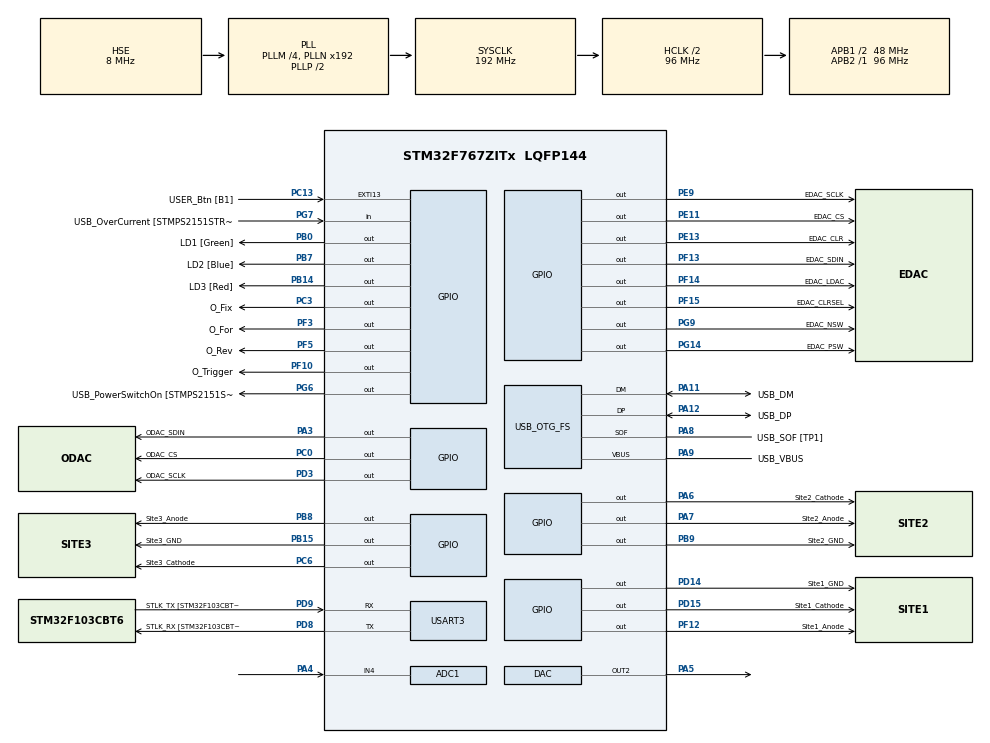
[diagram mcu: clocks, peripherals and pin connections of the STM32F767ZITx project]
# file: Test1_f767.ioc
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ADC1.Channel-0\#ChannelRegularConversion=ADC_CHANNEL_4
ADC1.ContinuousConvMode=ENABLE
ADC1.DMAContinuousRequests=ENABLE
ADC1.ExternalTrigConv=ADC_SOFTWARE_START
ADC1.NbrOfConversion=1
ADC1.NbrOfConversionFlag=1
ADC1.Rank-0\#ChannelRegularConversion=1
ADC1.SamplingTime-0\#ChannelRegularConversion=ADC_SAMPLETIME_15CYCLES
ADC1.master=1
Dma.ADC1.0.Direction=DMA_PERIPH_TO_MEMORY
Dma.ADC1.0.FIFOMode=DMA_FIFOMODE_DISABLE
Dma.ADC1.0.Instance=DMA2_Stream0
Dma.ADC1.0.MemDataAlignment=DMA_MDATAALIGN_HALFWORD
Dma.ADC1.0.MemInc=DMA_MINC_ENABLE
Dma.ADC1.0.Mode=DMA_CIRCULAR
Dma.ADC1.0.PeriphDataAlignment=DMA_PDATAALIGN_HALFWORD
Dma.ADC1.0.PeriphInc=DMA_PINC_DISABLE
Dma.ADC1.0.Priority=DMA_PRIORITY_LOW
Dma.Request0=ADC1
Mcu.Family=STM32F7
Mcu.Name=STM32F767ZITx
Mcu.Package=LQFP144
NVIC.DMA2_Stream0_IRQn=true\:0\:0\:false\:false\:true\:false\:true\:true
NVIC.PriorityGroup=NVIC_PRIORITYGROUP_4
NVIC.TIM1_BRK_TIM9_IRQn=true\:0\:0\:false\:false\:true\:true\:true\:true
NVIC.TIM1_TRG_COM_TIM11_IRQn=true\:0\:0\:false\:false\:true\:true\:true\:true
NVIC.TIM1_UP_TIM10_IRQn=true\:0\:0\:false\:false\:true\:true\:true\:true
NVIC.TIM2_IRQn=true\:0\:0\:false\:false\:true\:true\:true\:true
NVIC.TIM6_DAC_IRQn=true\:0\:0\:false\:false\:true\:true\:true\:true
NVIC.TIM7_IRQn=true\:0\:0\:false\:false\:true\:true\:true\:true
NVIC.TIM8_BRK_TIM12_IRQn=true\:0\:0\:false\:false\:true\:true\:true\:true
NVIC.TIM8_TRG_COM_TIM14_IRQn=true\:0\:0\:false\:false\:true\:true\:true\:true
NVIC.TIM8_UP_TIM13_IRQn=true\:0\:0\:false\:false\:true\:true\:true\:true
NVIC.USART3_IRQn=true\:0\:0\:false\:false\:true\:true\:true\:true
PA1.GPIO_Label=RMII_REF_CLK [LAN8742A-CZ-TR_REFCLK0]
PA1.Signal=ETH_REF_CLK
PA10.GPIO_Label=USB_ID
PA10.Signal=USB_OTG_FS_ID
PA11.GPIO_Label=USB_DM
PA11.Mode=Device_Only
PA11.Signal=USB_OTG_FS_DM
PA12.GPIO_Label=USB_DP
PA12.Mode=Device_Only
PA12.Signal=USB_OTG_FS_DP
PA13.GPIO_Label=TMS
PA13.Mode=Serial_Wire
PA13.Signal=SYS_JTMS-SWDIO
PA14.GPIO_Label=TCK
PA14.Mode=Serial_Wire
PA14.Signal=SYS_JTCK-SWCLK
PA2.GPIO_Label=RMII_MDIO [LAN8742A-CZ-TR_MDIO]
PA2.Signal=ETH_MDIO
PA3.GPIO_Label=ODAC_SDIN
PA3.GPIO_PuPd=GPIO_PULLUP
PA3.GPIO_Speed=GPIO_SPEED_FREQ_HIGH
PA3.PinState=GPIO_PIN_SET
PA3.Signal=GPIO_Output
PA4.Signal=ADCx_IN4
PA5.Signal=COMP_DAC2_group
PA6.GPIO_Label=Site2_Cathode
PA6.GPIO_ModeDefaultOutputPP=GPIO_MODE_OUTPUT_PP
PA6.GPIO_PuPd=GPIO_NOPULL
PA6.GPIO_Speed=GPIO_SPEED_FREQ_HIGH
PA6.PinState=GPIO_PIN_RESET
PA6.Signal=GPIO_Output
PA7.GPIO_Label=Site2_Anode
PA7.GPIO_ModeDefaultOutputPP=GPIO_MODE_OUTPUT_PP
PA7.GPIO_PuPd=GPIO_NOPULL
PA7.GPIO_Speed=GPIO_SPEED_FREQ_HIGH
PA7.PinState=GPIO_PIN_RESET
PA7.Signal=GPIO_Output
PA8.GPIO_Label=USB_SOF [TP1]
PA8.Mode=Activate_SOF_FS
PA8.Signal=USB_OTG_FS_SOF
PA9.GPIO_Label=USB_VBUS
PA9.Mode=Activate_VBUS
PA9.Signal=USB_OTG_FS_VBUS
PB0.GPIO_Label=LD1 [Green]
PB0.GPIO_Speed=GPIO_SPEED_FREQ_LOW
PB0.Signal=GPIO_Output
PB13.GPIO_Label=RMII_TXD1 [LAN8742A-CZ-TR_TXD1]
PB13.Signal=ETH_TXD1
PB14.GPIO_Label=LD3 [Red]
PB14.GPIO_Speed=GPIO_SPEED_FREQ_LOW
PB14.Signal=GPIO_Output
PB15.GPIO_Label=Site3_GND
PB15.GPIO_ModeDefaultOutputPP=GPIO_MODE_OUTPUT_PP
PB15.GPIO_PuPd=GPIO_NOPULL
PB15.GPIO_Speed=GPIO_SPEED_FREQ_HIGH
PB15.PinState=GPIO_PIN_RESET
PB15.Signal=GPIO_Output
PB3.GPIO_Label=SWO
PB3.Signal=SYS_JTDO-SWO
PB7.GPIO_Label=LD2 [Blue]
PB7.GPIO_Speed=GPIO_SPEED_FREQ_LOW
PB7.Signal=GPIO_Output
PB8.GPIO_FM8=SYSCFG_PMC_I2C_PB8_FMP
PB8.GPIO_Label=Site3_Anode
PB8.GPIO_ModeDefaultOutputPP=GPIO_MODE_OUTPUT_PP
PB8.GPIO_PuPd=GPIO_NOPULL
PB8.GPIO_Speed=GPIO_SPEED_FREQ_HIGH
PB8.PinState=GPIO_PIN_RESET
PB8.Signal=GPIO_Output
PB9.GPIO_FM9=SYSCFG_PMC_I2C_PB9_FMP
PB9.GPIO_Label=Site2_GND
PB9.GPIO_ModeDefaultOutputPP=GPIO_MODE_OUTPUT_PP
PB9.GPIO_PuPd=GPIO_NOPULL
PB9.GPIO_Speed=GPIO_SPEED_FREQ_HIGH
PB9.PinState=GPIO_PIN_RESET
PB9.Signal=GPIO_Output
PC0.GPIO_Label=ODAC_CS
PC0.GPIO_PuPd=GPIO_PULLUP
PC0.GPIO_Speed=GPIO_SPEED_FREQ_HIGH
PC0.PinState=GPIO_PIN_SET
PC0.Signal=GPIO_Output
PC1.GPIO_Label=RMII_MDC [LAN8742A-CZ-TR_MDC]
PC1.Signal=ETH_MDC
PC13.GPIO_Label=USER_Btn [B1]
PC13.Signal=GPXTI13
PC14/OSC32_IN.Mode=LSE-External-Oscillator
PC14/OSC32_IN.Signal=RCC_OSC32_IN
PC15/OSC32_OUT.Mode=LSE-External-Oscillator
PC15/OSC32_OUT.Signal=RCC_OSC32_OUT
PC3.GPIO_Label=O_Fix
PC3.GPIO_PuPd=GPIO_PULLDOWN
PC3.PinState=GPIO_PIN_SET
PC3.Signal=GPIO_Output
PC4.GPIO_Label=RMII_RXD0 [LAN8742A-CZ-TR_RXD0]
PC4.Signal=ETH_RXD0
PC5.GPIO_Label=RMII_RXD1 [LAN8742A-CZ-TR_RXD1]
PC5.Signal=ETH_RXD1
PC6.GPIO_Label=Site3_Cathode
PC6.GPIO_ModeDefaultOutputPP=GPIO_MODE_OUTPUT_PP
PC6.GPIO_PuPd=GPIO_NOPULL
PC6.GPIO_Speed=GPIO_SPEED_FREQ_HIGH
PC6.PinState=GPIO_PIN_RESET
PC6.Signal=GPIO_Output
PD14.GPIO_Label=Site1_GND
PD14.GPIO_ModeDefaultOutputPP=GPIO_MODE_OUTPUT_PP
PD14.GPIO_PuPd=GPIO_NOPULL
PD14.GPIO_Speed=GPIO_SPEED_FREQ_HIGH
PD14.PinState=GPIO_PIN_RESET
PD14.Signal=GPIO_Output
PD15.GPIO_Label=Site1_Cathode
PD15.GPIO_ModeDefaultOutputPP=GPIO_MODE_OUTPUT_PP
PD15.GPIO_PuPd=GPIO_NOPULL
PD15.GPIO_Speed=GPIO_SPEED_FREQ_HIGH
PD15.PinState=GPIO_PIN_RESET
PD15.Signal=GPIO_Output
PD3.GPIO_Label=ODAC_SCLK
PD3.GPIO_PuPd=GPIO_PULLUP
PD3.GPIO_Speed=GPIO_SPEED_FREQ_HIGH
PD3.PinState=GPIO_PIN_SET
PD3.Signal=GPIO_Output
PD8.GPIO_Label=STLK_RX [STM32F103CBT6_PA3]
PD8.Mode=Asynchronous
PD8.Signal=USART3_TX
PD9.GPIO_Label=STLK_TX [STM32F103CBT6_PA2]
PD9.Mode=Asynchronous
PD9.Signal=USART3_RX
PE11.GPIO_Label=EDAC_CS
PE11.GPIO_PuPd=GPIO_PULLUP
PE11.GPIO_Speed=GPIO_SPEED_FREQ_HIGH
PE11.PinState=GPIO_PIN_SET
PE11.Signal=GPIO_Output
PE13.GPIO_Label=EDAC_CLR
PE13.GPIO_Speed=GPIO_SPEED_FREQ_HIGH
PE13.PinState=GPIO_PIN_SET
PE13.Signal=GPIO_Output
PE9.GPIO_Label=EDAC_SCLK
PE9.GPIO_PuPd=GPIO_PULLUP
PE9.GPIO_Speed=GPIO_SPEED_FREQ_HIGH
PE9.PinState=GPIO_PIN_SET
PE9.Signal=GPIO_Output
PF10.GPIO_Label=O_Trigger
PF10.GPIO_PuPd=GPIO_PULLDOWN
PF10.Signal=GPIO_Output
PF12.GPIO_Label=Site1_Anode
PF12.GPIO_ModeDefaultOutputPP=GPIO_MODE_OUTPUT_PP
PF12.GPIO_PuPd=GPIO_NOPULL
PF12.GPIO_Speed=GPIO_SPEED_FREQ_HIGH
PF12.PinState=GPIO_PIN_RESET
PF12.Signal=GPIO_Output
PF13.GPIO_Label=EDAC_SDIN
PF13.GPIO_PuPd=GPIO_PULLUP
PF13.GPIO_Speed=GPIO_SPEED_FREQ_HIGH
PF13.PinState=GPIO_PIN_SET
PF13.Signal=GPIO_Output
PF14.GPIO_Label=EDAC_LDAC
PF14.GPIO_PuPd=GPIO_PULLUP
PF14.GPIO_Speed=GPIO_SPEED_FREQ_HIGH
PF14.PinState=GPIO_PIN_SET
PF14.Signal=GPIO_Output
PF15.GPIO_Label=EDAC_CLRSEL
PF15.GPIO_Speed=GPIO_SPEED_FREQ_LOW
PF15.PinState=GPIO_PIN_SET
PF15.Signal=GPIO_Output
PF3.GPIO_Label=O_For
PF3.GPIO_PuPd=GPIO_PULLUP
PF3.PinState=GPIO_PIN_SET
PF3.Signal=GPIO_Output
PF5.GPIO_Label=O_Rev
PF5.GPIO_PuPd=GPIO_PULLUP
PF5.PinState=GPIO_PIN_SET
PF5.Signal=GPIO_Output
PG11.GPIO_Label=RMII_TX_EN [LAN8742A-CZ-TR_TXEN]
PG11.Signal=ETH_TX_EN
PG13.GPIO_Label=RMII_TXD0 [LAN8742A-CZ-TR_TXD0]
PG13.Signal=ETH_TXD0
PG14.GPIO_Label=EDAC_PSW
PG14.GPIO_Speed=GPIO_SPEED_FREQ_HIGH
PG14.Signal=GPIO_Output
PG6.GPIO_Label=USB_PowerSwitchOn [STMPS2151STR_EN]
PG6.Signal=GPIO_Output
PG7.GPIO_Label=USB_OverCurrent [STMPS2151STR_FAULT]
PG7.Signal=GPIO_Input
PG9.GPIO_Label=EDAC_NSW
PG9.GPIO_Speed=GPIO_SPEED_FREQ_HIGH
PG9.Signal=GPIO_Output
PH0/OSC_IN.GPIO_Label=MCO [STM32F103CBT6_PA8]
PH0/OSC_IN.Mode=HSE-External-Oscillator
PH0/OSC_IN.Signal=RCC_OSC_IN
PH1/OSC_OUT.Mode=HSE-External-Oscillator
PH1/OSC_OUT.Signal=RCC_OSC_OUT
ProjectManager.HeapSize=0x200
ProjectManager.StackSize=0x400
ProjectManager.TargetToolchain=STM32CubeIDE
RCC.48MHZClocksFreq_Value=24000000
RCC.AHBCLKDivider=RCC_SYSCLK_DIV2
RCC.AHBFreq_Value=96000000
RCC.APB1CLKDivider=RCC_HCLK_DIV2
RCC.APB1Freq_Value=48000000
RCC.APB1TimFreq_Value=96000000
RCC.APB2Freq_Value=96000000
RCC.APB2TimFreq_Value=96000000
RCC.CortexFreq_Value=96000000
RCC.HCLKFreq_Value=96000000
RCC.HSE_VALUE=8000000
RCC.HSI_VALUE=16000000
RCC.PLLM=4
RCC.PLLMUL=RCC_PLL_MUL9
RCC.PLLQ=8
RCC.PLLSAIP=RCC_PLLSAIP_DIV4
RCC.PRESCALERUSB=RCC_USBCLKSOURCE_PLL_DIV1_5
RCC.SYSCLKFreq_VALUE=192000000
RCC.SYSCLKSource=RCC_SYSCLKSOURCE_PLLCLK
RCC.SYSCLKSourceVirtual=RCC_SYSCLKSOURCE_PLLCLK
RCC.USBFreq_Value=48000000
RCC.VCOOutputFreq_Value=384000000
SH.ADCx_IN4.0=ADC1_IN4,IN4
SH.COMP_DAC2_group.0=DAC_OUT2,DAC_OUT2
TIM10.AutoReloadPreload=TIM_AUTORELOAD_PRELOAD_DISABLE
TIM10.Period=100-1
TIM10.Prescaler=96-1
TIM11.Period=1000-1
TIM11.Prescaler=96-1
TIM12.ClockDivision=TIM_CLOCKDIVISION_DIV2
TIM12.Period=2-1
TIM12.Prescaler=24000-1
TIM13.ClockDivision=TIM_CLOCKDIVISION_DIV2
TIM13.Period=20-1
TIM13.Prescaler=24000-1
TIM14.ClockDivision=TIM_CLOCKDIVISION_DIV2
TIM14.Period=1000-1
TIM14.Prescaler=24000-1
TIM2.Period=1000-1
TIM2.Prescaler=96-1
TIM7.Period=1000-1
TIM7.Prescaler=96-1
TIM9.AutoReloadPreload=TIM_AUTORELOAD_PRELOAD_DISABLE
TIM9.Period=480-1
TIM9.Prescaler=24-1
USART3.VirtualMode-Asynchronous=VM_ASYNC
USB_OTG_FS.VirtualMode=Device_Only
VP_TIM10_VS_ClockSourceINT.Mode=Enable_Timer
VP_TIM11_VS_ClockSourceINT.Mode=Enable_Timer
VP_TIM12_VS_ClockSourceINT.Mode=Internal
VP_TIM13_VS_ClockSourceINT.Mode=Enable_Timer
VP_TIM14_VS_ClockSourceINT.Mode=Enable_Timer
VP_TIM2_VS_ClockSourceINT.Mode=Internal
VP_TIM7_VS_ClockSourceINT.Mode=Enable_Timer
VP_TIM9_VS_ClockSourceINT.Mode=Internal
board=NUCLEO-F767ZI

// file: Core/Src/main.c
/* USER CODE BEGIN Header */
/**
 ******************************************************************************
 * @file           : main.c
 * @brief          : Main program body
 ******************************************************************************
 * @attention
 *
 * Copyright (c) 2024 STMicroelectronics.
 * All rights reserved.
 *
 * This software is licensed under terms that can be found in the LICENSE file
 * in the root directory of this software component.
 * If no LICENSE file comes with this software, it is provided AS-IS.
 *
 ******************************************************************************
 */
/* USER CODE END Header */
#include "main.h"
#include "adc.h"
#include "dac.h"
#include "dma.h"
#include "tim.h"
#include "usart.h"
#include "gpio.h"

/* USER CODE BEGIN Includes */
#include <string.h>
#include <stdlib.h>
#include "stm32f7xx_it.h"
#include "elec.h"
#include "opto.h"
#include "myspi.h"
/* USER CODE END Includes */

/* USER CODE BEGIN PM */
// UART_HandleTypeDef huart3;
/* USER CODE END PM */

/* USER CODE BEGIN PV */
char msg[] = "Hello, UART!\n";
const uint8_t startconfirm[] = "started\n";

uint8_t program_stage = 0;
volatile uint8_t startprogram = 0;
volatile uint8_t ParReceive_enable = 1;

extern ADC_HandleTypeDef hadc1;
extern uint8_t ADC_sample_complete;
extern uint16_t adc_buf[ADC_BUF_LEN];

extern Site_t Site_group[3];
extern MYSPI_IO_t EVO;
// extern uint8_t VO_Group[4];
char E_DATARx[ECHO_BUFFER_LENGTH], E_PTime1_s[ECHO_BUFFER_LENGTH], E_PTime2_s[ECHO_BUFFER_LENGTH], E_Cur1_s[ECHO_BUFFER_LENGTH], E_Cur2_s[ECHO_BUFFER_LENGTH],
    E_PulsePeriod_s[ECHO_BUFFER_LENGTH], E_Repeat_s[ECHO_BUFFER_LENGTH], E_Delay_s[ECHO_BUFFER_LENGTH],
    O_DATARx[ECHO_BUFFER_LENGTH], O_PTime1_s[ECHO_BUFFER_LENGTH], O_PTime2_s[ECHO_BUFFER_LENGTH], O_Cur1_s[ECHO_BUFFER_LENGTH], O_Cur2_s[ECHO_BUFFER_LENGTH],
    O_PulsePeriod_s[ECHO_BUFFER_LENGTH], O_Repeat_s[ECHO_BUFFER_LENGTH], O_Delay_s[ECHO_BUFFER_LENGTH],
    Src_Site_s[ECHO_BUFFER_LENGTH], CathodType_s[ECHO_BUFFER_LENGTH], DstSite_s[ECHO_BUFFER_LENGTH], Mode_s[ECHO_BUFFER_LENGTH], StimPeriod_s[ECHO_BUFFER_LENGTH] = "";
volatile uint16_t E_PTime1, E_PTime2, E_CurA, E_CurB, E_CurC, E_CurD,
    E_PulsePeriod, E_Repeat, E_Delay,
    O_PTime1, O_PTime2, O_Cur1, O_Cur2,
    O_PulsePeriod, O_Repeat, O_Delay,
    Src_Site, CathodType, DstSite, Mode, StimPeriod = 0;

volatile uint8_t E_Stimulating = 0;
volatile uint8_t E_Sti_Count = 0;
volatile uint8_t E_SPeriod_flag = 0;
volatile uint8_t LPeriod_flag = 0;

volatile uint8_t O_Stimulating = 0;
volatile uint8_t O_Sti_Count = 0;
volatile uint8_t O_SPeriod_flag = 0;

volatile uint8_t Esticompleted = 0;
volatile uint8_t Ostimcompleted = 0;
volatile uint8_t O_stimallowed = 0;
volatile uint8_t E_stimallowed = 0;

uint8_t LED_first_flag = 1;
extern volatile uint8_t Opto_PhaseFlag;
/* USER CODE END PV */

void SystemClock_Config(void);

/* USER CODE BEGIN 0 */

/**
 * @brief This function handles TIM2 global interrupt.
 */
void TIM_Delay_IRQHandler(void)
{
  if (__HAL_TIM_GET_FLAG(&hTIM_Delay, TIM_FLAG_UPDATE) != RESET)
  {
    if (__HAL_TIM_GET_IT_SOURCE(&hTIM_Delay, TIM_IT_UPDATE) != RESET)
    {
    	HAL_TIM_Base_Stop_IT(&hTIM_Delay);
      __HAL_TIM_SET_COUNTER(&hTIM_Delay, 0);
      __HAL_TIM_CLEAR_FLAG(&hTIM_Delay, TIM_IT_UPDATE);
      if (LED_first_flag)
      {
        E_stimallowed = 1;
        __HAL_TIM_SET_AUTORELOAD(&hTIM_STP_Elec, E_PulsePeriod);
        __HAL_TIM_SET_COUNTER(&hTIM_STP_Elec, 0);
        HAL_TIM_Base_Start_IT(&hTIM_STP_Elec);
      }
      else
      {
        O_stimallowed = 1;
        __HAL_TIM_SET_AUTORELOAD(&hTIM_STP_Opto, O_PulsePeriod);
        __HAL_TIM_SET_COUNTER(&hTIM_STP_Opto, 0);
        HAL_TIM_Base_Start_IT(&hTIM_STP_Opto);
      }
    }
  }
}

/**
 * @brief This function handles TIM1 trigger and commutation interrupts and TIM11 global interrupt.
 */
void TIM_LTP_IRQHandler(void)
{
  /* USER CODE BEGIN TIM1_TRG_COM_TIM11_IRQn 0 */
  if (__HAL_TIM_GET_FLAG(&hTIM_LTP, TIM_FLAG_UPDATE) != RESET)
  {
    if (__HAL_TIM_GET_IT_SOURCE(&hTIM_LTP, TIM_IT_UPDATE) != RESET)
    {
      __HAL_TIM_SET_COUNTER(&hTIM_LTP, 0);
      __HAL_TIM_CLEAR_FLAG(&hTIM_LTP, TIM_IT_UPDATE);
      LPeriod_flag = 1;
    }
  }
}
/* USER CODE END 0 */

int main(void)
{

  /* MCU Configuration--------------------------------------------------------*/

  /* Reset of all peripherals, Initializes the Flash interface and the Systick. */
  HAL_Init();

  /* Configure the system clock */
  SystemClock_Config();

  /* Initialize all configured peripherals */
  MX_GPIO_Init();
  MX_DMA_Init();
  MX_ADC1_Init();
  MX_USART3_UART_Init();
  MX_DAC_Init();
  MX_TIM9_Init();
  MX_TIM10_Init();
  MX_TIM7_Init();
  MX_TIM11_Init();
  MX_TIM12_Init();
  MX_TIM13_Init();
  MX_TIM14_Init();
  MX_TIM2_Init();
  /* USER CODE BEGIN 2 */
  // HAL_ADC_Start(&hadc1);
  HAL_ADC_Start_DMA(&hadc1, (uint32_t *)adc_buf, ADC_BUF_LEN);

  HAL_GPIO_WritePin(EDAC_CLRSEL_GPIO_Port, EDAC_CLRSEL_Pin, GPIO_PIN_SET); // Set EDAC to middle voltage
  HAL_GPIO_WritePin(EDAC_CLR_GPIO_Port, EDAC_CLR_Pin, GPIO_PIN_RESET);     // Set EDAC to middle voltage
  /* USER CODE END 2 */

  /* Infinite loop */
  while (1)
  {

    /* USER CODE BEGIN 3 */
    if (program_stage == 1)
    {
      startprogram = 1;
      ParReceive_enable = 1;
      HAL_TIM_Base_Start_IT(&hADC_Trigger); // ADC timer

      HAL_UART_Transmit(&huart3, (uint8_t *)&startconfirm, sizeof(startconfirm), HAL_MAX_DELAY);
    }

    while (startprogram)
    {
      switch (program_stage)
      {
      case 2:
        program_stage = 0;
        startprogram = 0;
        Opto_PhaseFlag = 1;
        O_Stimulating = 0;
        E_Stimulating = 0;

        HAL_TIM_Base_Stop_IT(&hADC_Trigger); // ADC timer

        HAL_TIM_Base_Stop_IT(&hTIM_STP_Opto);
        HAL_TIM_Base_Stop_IT(&hTIM_Pulse_Opto);

        HAL_TIM_Base_Stop_IT(&hTIM_STP_Elec);
        HAL_TIM_Base_Stop_IT(&hTIM_Pulse_Elec);

        HAL_TIM_Base_Stop_IT(&hTIM_Delay);
        HAL_TIM_Base_Stop_IT(&hTIM_LTP);

        HAL_GPIO_WritePin(EDAC_CLR_GPIO_Port, EDAC_CLR_Pin, GPIO_PIN_RESET); // Set EDAC to middle voltage
        break;
      case 3:
        if (ParReceive_enable)
        {
          ParReceive_enable = 0;
          while (!getCmd(O_DATARx))
            ;
          parseCmd_O(O_DATARx, O_PTime1_s, O_PTime2_s, O_Cur1_s, O_Cur2_s, Mode_s, O_PulsePeriod_s, O_Repeat_s, StimPeriod_s, O_Delay_s);
          O_PTime1 = atoi(O_PTime1_s) / 250 - 1;
          O_PTime2 = atoi(O_PTime2_s) / 250 - 1;
          O_Cur1 = 0x100 + atoi(O_Cur1_s);
          O_Cur2 = 0x100 + atoi(O_Cur2_s);
          Mode = atoi(Mode_s);
          O_PulsePeriod = atoi(O_PulsePeriod_s) / 250 - 1;

          O_Repeat = atoi(O_Repeat_s);
          StimPeriod = atoi(StimPeriod_s) - 1;

          if (Mode)
          {
            __HAL_TIM_SET_AUTORELOAD(&hTIM_LTP, StimPeriod);
            __HAL_TIM_SET_COUNTER(&hTIM_LTP, 0);
            HAL_TIM_Base_Start_IT(&hTIM_LTP);
          }

          __HAL_TIM_SET_AUTORELOAD(&hTIM_STP_Opto, O_PulsePeriod);
          __HAL_TIM_SET_COUNTER(&hTIM_STP_Opto, 0);
          HAL_TIM_Base_Start_IT(&hTIM_STP_Opto);
        }
        if (Mode)
        {
          if (!LPeriod_flag)
          {
            if (!O_SPeriod_flag)
            {
              if (O_Sti_Count < O_Repeat)
              {
                if (!O_Stimulating)
                {
                  O_Stimulating = 1;
                  if (!optostimulation())
                  {
                    O_Sti_Count++;
                    O_SPeriod_flag = 1;
                  }
                }
              }
              else
              {
                __HAL_TIM_DISABLE(&hTIM_STP_Opto);
              }
            }
          }
          else
          {
            LPeriod_flag = 0;
            O_SPeriod_flag = 0;
            O_Sti_Count = 0;
            __HAL_TIM_ENABLE(&hTIM_STP_Opto);
          }
        }
        else
        {
          if (!O_SPeriod_flag)
          {
            if (O_Sti_Count < O_Repeat)
            {
              if (!O_Stimulating)
              {
                O_Stimulating = 1;
                if (!optostimulation())
                {
                  O_Sti_Count++;
                  O_SPeriod_flag = 1;
                }
              }
            }
            else
            {
              program_stage = 1;
              ParReceive_enable = 1;
              O_SPeriod_flag = 0;
              O_Sti_Count = 0;
              HAL_TIM_Base_Stop_IT(&hTIM_STP_Opto);
            }
          }
        }
        break;
      case 4:
        if (ParReceive_enable)
        {
          ParReceive_enable = 0;
          while (!getCmd(E_DATARx))
            ;
          parseCmd_E(E_DATARx, E_PTime1_s, E_PTime2_s, E_Cur1_s, E_Cur2_s, Src_Site_s, CathodType_s, DstSite_s,
                     Mode_s, E_PulsePeriod_s, E_Repeat_s, StimPeriod_s, E_Delay_s);

          E_PTime1 = (uint16_t)atoi(E_PTime1_s) * 4 - 1 - 3;
          E_PTime2 = (uint16_t)atoi(E_PTime2_s) * 4 +1;
          E_CurD = (0b11 << 14) + (uint16_t)atoi(E_Cur1_s);        // Negtive High Current
          E_CurC = (0b10 << 14) + (uint16_t)atoi(E_Cur2_s);        // Negtive Low Current
          E_CurB = (0b01 << 14) + 4095 - (uint16_t)atoi(E_Cur1_s); // Positive High Current
          E_CurA = (0b00 << 14) + 4095 - (uint16_t)atoi(E_Cur2_s); // Positive Low Current
          Src_Site = (uint16_t)atoi(Src_Site_s);
          CathodType = (uint16_t)atoi(CathodType_s);
          DstSite = (uint16_t)atoi(DstSite_s);
          Mode = (uint16_t)atoi(Mode_s);
          E_PulsePeriod = (uint16_t)atoi(E_PulsePeriod_s) - 1;

          E_Repeat = (uint16_t)atoi(E_Repeat_s);
          StimPeriod = (uint16_t)atoi(StimPeriod_s) - 1;

          HAL_GPIO_WritePin(EDAC_CLR_GPIO_Port, EDAC_CLR_Pin, GPIO_PIN_SET);

          MySPI_SendByte2AD5726(EVO, E_CurA); // VO+ when switch PG14 to 1
          MySPI_SendByte2AD5726(EVO, E_CurB); // VO+ when switch PG14 to 0 (default)
          MySPI_SendByte2AD5726(EVO, E_CurC); // VO- when switch PG9 to 1
          MySPI_SendByte2AD5726(EVO, E_CurD); // VO- when switch PG9 to 0 (default)
          if (Mode)
          {
            __HAL_TIM_SET_AUTORELOAD(&hTIM_LTP, StimPeriod);
            __HAL_TIM_SET_COUNTER(&hTIM_LTP, 0);
            HAL_TIM_Base_Start_IT(&hTIM_LTP);
          }

          __HAL_TIM_SET_AUTORELOAD(&hTIM_STP_Elec, E_PulsePeriod);
          __HAL_TIM_SET_COUNTER(&hTIM_STP_Elec, 0);
          HAL_TIM_Base_Start_IT(&hTIM_STP_Elec);
        }
        if (Mode)
        {
          if (!LPeriod_flag)
          {
            if (!E_SPeriod_flag)
            {
              if (E_Sti_Count < E_Repeat)
              {
                if (!E_Stimulating)
                {
                  E_Stimulating = 1;
                  if (!elecstimulation(Site_group[Src_Site], Site_group[DstSite], CathodType))
                  {
                    E_Sti_Count++;
                    E_SPeriod_flag = 1;
                  }
                }
              }
              else
              {
                __HAL_TIM_DISABLE(&hTIM_STP_Elec);
              }
            }
          }
          else
          {
            LPeriod_flag = 0;
            E_SPeriod_flag = 0;
            E_Sti_Count = 0;
            __HAL_TIM_ENABLE(&hTIM_STP_Elec);
          }
        }
        else
        {
          if (!E_SPeriod_flag)
          {
            if (E_Sti_Count < E_Repeat)
            {
              if (!E_Stimulating)
              {
                E_Stimulating = 1;
                if (!elecstimulation(Site_group[Src_Site], Site_group[DstSite], CathodType))
                {
                  E_Sti_Count++;
                  E_SPeriod_flag = 1;
                }
              }
            }
            else
            {
              program_stage = 1;
              ParReceive_enable = 1;
              E_SPeriod_flag = 0;
              E_Sti_Count = 0;
              HAL_TIM_Base_Stop_IT(&hTIM_STP_Elec);
            }
          }
        }
        break;
      case 5:
        if (ParReceive_enable)
        {
          ParReceive_enable = 0;
          while (!getCmd(O_DATARx))
            ;
          while (!getCmd(E_DATARx))
            ;
          parseCmd_O(O_DATARx, O_PTime1_s, O_PTime2_s, O_Cur1_s, O_Cur2_s, Mode_s, O_PulsePeriod_s, O_Repeat_s, StimPeriod_s, O_Delay_s);
          O_PTime1 = atoi(O_PTime1_s) / 250 - 1;
          O_PTime2 = atoi(O_PTime2_s) / 250 - 1;
          O_Cur1 = 0x100 + atoi(O_Cur1_s);
          O_Cur2 = 0x100 + atoi(O_Cur2_s);
          O_PulsePeriod = atoi(O_PulsePeriod_s) / 250 - 1;
          O_Repeat = atoi(O_Repeat_s);
          O_Delay = atoi(O_Delay_s);

          parseCmd_E(E_DATARx, E_PTime1_s, E_PTime2_s, E_Cur1_s, E_Cur2_s, Src_Site_s, CathodType_s, DstSite_s,
                     Mode_s, E_PulsePeriod_s, E_Repeat_s, StimPeriod_s, E_Delay_s);
          E_PTime1 = (uint32_t)atoi(E_PTime1_s) * 4 - 1 - 7;
          E_PTime2 = (uint32_t)atoi(E_PTime2_s) * 4 - 1 - 10;
          E_CurD = (0b11 << 14) + (uint32_t)atoi(E_Cur1_s);        // Negtive High Current
          E_CurC = (0b10 << 14) + (uint32_t)atoi(E_Cur2_s);        // Negtive Low Current
          E_CurB = (0b01 << 14) + 4095 - (uint32_t)atoi(E_Cur1_s); // Positive High Current
          E_CurA = (0b00 << 14) + 4095 - (uint32_t)atoi(E_Cur2_s); // Positive Low Current
          Src_Site = (uint32_t)atoi(Src_Site_s);
          CathodType = (uint32_t)atoi(CathodType_s);
          DstSite = (uint32_t)atoi(DstSite_s);
          Mode = (uint32_t)atoi(Mode_s);
          E_PulsePeriod = (uint32_t)atoi(E_PulsePeriod_s) - 1;
          E_Repeat = (uint32_t)atoi(E_Repeat_s);
          StimPeriod = (uint32_t)atoi(StimPeriod_s) - 1;
          E_Delay = (uint32_t)atoi(E_Delay_s);

          HAL_GPIO_WritePin(EDAC_CLR_GPIO_Port, EDAC_CLR_Pin, GPIO_PIN_SET);
          MySPI_SendByte2AD5726(EVO, E_CurA); // VO+ when switch PG14 to 1
          MySPI_SendByte2AD5726(EVO, E_CurB); // VO+ when switch PG14 to 0 (default)
          MySPI_SendByte2AD5726(EVO, E_CurC); // VO- when switch PG9 to 1
          MySPI_SendByte2AD5726(EVO, E_CurD); // VO- when switch PG9 to 0 (default)

          if (Mode)
          {
            __HAL_TIM_SET_AUTORELOAD(&hTIM_LTP, StimPeriod);
            __HAL_TIM_SET_COUNTER(&hTIM_LTP, 0);
            HAL_TIM_Base_Start_IT(&hTIM_LTP);
          }

          if (O_Delay < E_Delay)
          {
            LED_first_flag = 1;
            O_stimallowed = 1;
            __HAL_TIM_SET_AUTORELOAD(&hTIM_STP_Opto, O_PulsePeriod);
            __HAL_TIM_SET_COUNTER(&hTIM_STP_Opto, 0);
            HAL_TIM_Base_Start_IT(&hTIM_STP_Opto);

            __HAL_TIM_SET_AUTORELOAD(&hTIM_Delay, E_Delay - 1);
            __HAL_TIM_SET_COUNTER(&hTIM_Delay, 0);
            HAL_TIM_Base_Start_IT(&hTIM_Delay);
          }
          else if (O_Delay > E_Delay)
          {
            LED_first_flag = 0;
            E_stimallowed = 1;
            __HAL_TIM_SET_AUTORELOAD(&hTIM_STP_Elec, E_PulsePeriod);
            __HAL_TIM_SET_COUNTER(&hTIM_STP_Elec, 0);
            HAL_TIM_Base_Start_IT(&hTIM_STP_Elec);

            __HAL_TIM_SET_AUTORELOAD(&hTIM_Delay, O_Delay - 1);
            __HAL_TIM_SET_COUNTER(&hTIM_Delay, 0);
            HAL_TIM_Base_Start_IT(&hTIM_Delay);
          }
          else
          {
            O_stimallowed = 1;
            E_stimallowed = 1;
            __HAL_TIM_SET_AUTORELOAD(&hTIM_STP_Opto, O_PulsePeriod);
            __HAL_TIM_SET_COUNTER(&hTIM_STP_Opto, 0);
            HAL_TIM_Base_Start_IT(&hTIM_STP_Opto);

            __HAL_TIM_SET_AUTORELOAD(&hTIM_STP_Elec, E_PulsePeriod);
            __HAL_TIM_SET_COUNTER(&hTIM_STP_Elec, 0);
            HAL_TIM_Base_Start_IT(&hTIM_STP_Elec);
          }
        }
        if (Mode)
        {
          if (!LPeriod_flag)
          {
            if (O_stimallowed)
            {
              if (!O_SPeriod_flag)
              {
                if (O_Sti_Count < O_Repeat)
                {
                  if (!O_Stimulating)
                  {
                    O_Stimulating = 1;
                    if (!optostimulation())
                    {
                      O_Sti_Count++;
                      O_SPeriod_flag = 1;
                    }
                  }
                }
                else
                {
                  O_stimallowed = 0;
                  HAL_TIM_Base_Stop_IT(&hTIM_STP_Opto);
                }
              }
            }

            if (E_stimallowed)
            {
              if (!E_SPeriod_flag)
              {
                if (E_Sti_Count < E_Repeat)
                {
                  if (!E_Stimulating)
                  {
                    E_Stimulating = 1;
                    if (!elecstimulation(Site_group[Src_Site], Site_group[DstSite], CathodType))
                    {
                      E_Sti_Count++;
                      E_SPeriod_flag = 1;
                    }
                  }
                }
                else
                {
                  E_stimallowed = 0;
                  HAL_TIM_Base_Stop_IT(&hTIM_STP_Elec);
                }
              }
            }
          }
          else
          {
            E_Sti_Count = 0;
            O_Sti_Count = 0;
            LPeriod_flag = 0;

            if (O_Delay < E_Delay)
            {
              LED_first_flag = 1;
              O_stimallowed = 1;
              __HAL_TIM_SET_COUNTER(&hTIM_STP_Opto, 0);
              HAL_TIM_Base_Start_IT(&hTIM_STP_Opto);

              __HAL_TIM_SET_COUNTER(&hTIM_Delay, 0);
              HAL_TIM_Base_Start_IT(&hTIM_Delay);
            }
            else if (O_Delay > E_Delay)
            {
              LED_first_flag = 0;
              E_stimallowed = 1;
              __HAL_TIM_SET_COUNTER(&hTIM_STP_Elec, 0);
              HAL_TIM_Base_Start_IT(&hTIM_STP_Elec);

              __HAL_TIM_SET_COUNTER(&hTIM_Delay, 0);
              HAL_TIM_Base_Start_IT(&hTIM_Delay);
            }
            else
            {
              O_stimallowed = 1;
              E_stimallowed = 1;
              __HAL_TIM_SET_COUNTER(&hTIM_STP_Opto, 0);
              HAL_TIM_Base_Start_IT(&hTIM_STP_Opto);

              __HAL_TIM_SET_COUNTER(&hTIM_STP_Elec, 0);
              HAL_TIM_Base_Start_IT(&hTIM_STP_Elec);
            }
          }
        }
        else
        {
          if (O_stimallowed)
          {
            if (!O_SPeriod_flag)
            {
              if (O_Sti_Count < O_Repeat)
              {
                if (!O_Stimulating)
                {
                  O_Stimulating = 1;
                  if (!optostimulation())
                  {
                    O_Sti_Count++;
                    O_SPeriod_flag = 1;
                  }
                }
              }
              else
              {
                Ostimcompleted = 1;
                O_stimallowed = 0;
                HAL_TIM_Base_Stop_IT(&hTIM_STP_Opto);
              }
            }
          }

          if (E_stimallowed)
          {
            if (!E_SPeriod_flag)
            {
              if (E_Sti_Count < E_Repeat)
              {
                if (!E_Stimulating)
                {
                  E_Stimulating = 1;
                  if (!elecstimulation(Site_group[Src_Site], Site_group[DstSite], CathodType))
                  {
                    E_Sti_Count++;
                    E_SPeriod_flag = 1;
                  }
                }
              }
              else
              {
                Esticompleted = 1;
                E_stimallowed = 0;
                HAL_TIM_Base_Stop_IT(&hTIM_STP_Elec);
              }
            }
          }

          if (Esticompleted && Ostimcompleted)
          {
            program_stage = 1;
            ParReceive_enable = 1;
            Esticompleted = 0;
            Ostimcompleted = 0;

            O_SPeriod_flag = 0;
            O_Sti_Count = 0;
            E_SPeriod_flag = 0;
            E_Sti_Count = 0;
            HAL_TIM_Base_Stop_IT(&hTIM_Delay);
          }
        }
      }
      if (program_stage != 2)
      {
        if (ADC_sample_complete)
        {
          ADC_sample_complete = 0;
          //          sendValueThroughUART(g_ADC_TransferArray, ADC_TransferLength);
        }
      }
    }
  }
  /* USER CODE END 3 */
}

void SystemClock_Config(void)
{
  RCC_OscInitTypeDef RCC_OscInitStruct = {0};
  RCC_ClkInitTypeDef RCC_ClkInitStruct = {0};

  /** Configure LSE Drive Capability
   */
  HAL_PWR_EnableBkUpAccess();

  /** Configure the main internal regulator output voltage
   */
  __HAL_RCC_PWR_CLK_ENABLE();
  __HAL_PWR_VOLTAGESCALING_CONFIG(PWR_REGULATOR_VOLTAGE_SCALE3);

  /** Initializes the RCC Oscillators according to the specified parameters
   * in the RCC_OscInitTypeDef structure.
   */
  RCC_OscInitStruct.OscillatorType = RCC_OSCILLATORTYPE_HSE;
  RCC_OscInitStruct.HSEState = RCC_HSE_ON;
  RCC_OscInitStruct.PLL.PLLState = RCC_PLL_ON;
  RCC_OscInitStruct.PLL.PLLSource = RCC_PLLSOURCE_HSE;
  RCC_OscInitStruct.PLL.PLLM = 4;
  RCC_OscInitStruct.PLL.PLLN = 192;
  RCC_OscInitStruct.PLL.PLLP = RCC_PLLP_DIV2;
  RCC_OscInitStruct.PLL.PLLQ = 8;
  RCC_OscInitStruct.PLL.PLLR = 2;
  if (HAL_RCC_OscConfig(&RCC_OscInitStruct) != HAL_OK)
  {
    Error_Handler();
  }

  /** Activate the Over-Drive mode
   */
  if (HAL_PWREx_EnableOverDrive() != HAL_OK)
  {
    Error_Handler();
  }

  /** Initializes the CPU, AHB and APB buses clocks
   */
  RCC_ClkInitStruct.ClockType = RCC_CLOCKTYPE_HCLK | RCC_CLOCKTYPE_SYSCLK | RCC_CLOCKTYPE_PCLK1 | RCC_CLOCKTYPE_PCLK2;
  RCC_ClkInitStruct.SYSCLKSource = RCC_SYSCLKSOURCE_PLLCLK;
  RCC_ClkInitStruct.AHBCLKDivider = RCC_SYSCLK_DIV2;
  RCC_ClkInitStruct.APB1CLKDivider = RCC_HCLK_DIV2;
  RCC_ClkInitStruct.APB2CLKDivider = RCC_HCLK_DIV1;

  if (HAL_RCC_ClockConfig(&RCC_ClkInitStruct, FLASH_LATENCY_3) != HAL_OK)
  {
    Error_Handler();
  }
}

void Error_Handler(void)
{
  __disable_irq();
  while (1)
  {
  }
}
